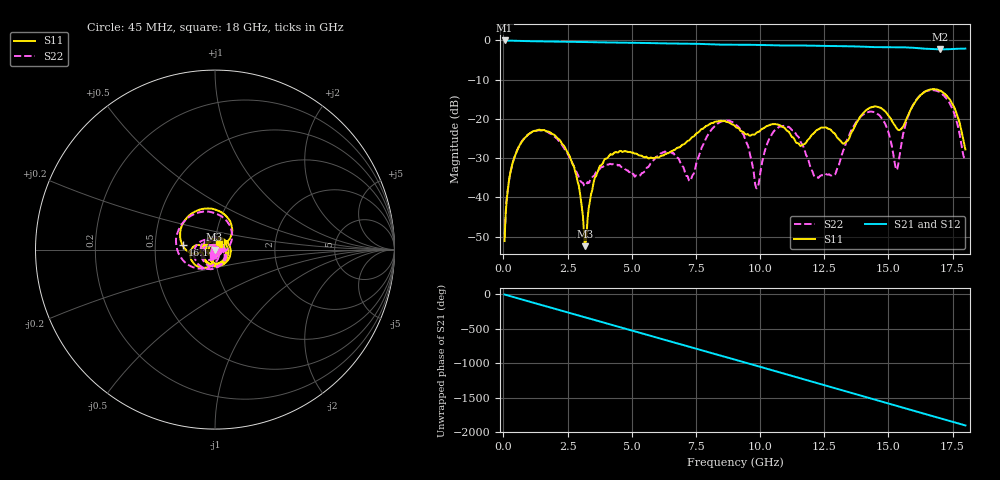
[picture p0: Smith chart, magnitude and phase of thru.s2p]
!Agilent Technologies,E8364A,US41440284,A.06.04.32
!Agilent E8364A: A.06.04.32
!Date: Friday, December 06, 2019 10:21:40
!Correction: S11(Full 2 Port(1,2)) S21(Full 2 Port(1,2)) S12(Full 2 Port(1,2)) S22(Full 2 Port(1,2))
!S2P File: Measurements: S11, S21, S12, S22:
# Hz S  MA  R 50
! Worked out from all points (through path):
!   801 points, 45 MHz to 18 GHz, reference 50 ohm
!   highest |S21| = -0.01 dB at 45 MHz (marker M1); lowest = -2.3 dB at 17.01 GHz (marker M2)
!   group delay of S21, straight-line fit = 294 ps
!   lowest |S11| = -52.4 dB at 3.187 GHz (marker M3), VSWR 1.00, Z = 49.8 - j0.0228 ohm
!   |S11| at or under -10 dB: start of sweep to end of sweep
!   |S22| runs from -49.5 to -12.6 dB; largest |S21 - S12| = 0.0016
!   S11 on the Smith chart (normalised r, x): 45 MHz: 1.00, -0.01; 16.14 GHz: 0.69, +0.03; 18 GHz: 1.05, +0.07
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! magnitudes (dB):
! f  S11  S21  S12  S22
! 45 MHz  -51.1  0.0  0.0  -49.5
! 426.5 MHz  -29.8  -0.1  -0.1  -29.8
! 1.279 GHz  -23.0  -0.2  -0.2  -23.0
! 2.424 GHz  -27.6  -0.3  -0.3  -28.1
! 3.052 GHz  -42.5  -0.4  -0.4  -36.2
! 3.187 GHz  -52.4  -0.4  -0.4  -36.9
! 3.546 GHz  -35.3  -0.5  -0.5  -34.4
! 3.995 GHz  -30.1  -0.5  -0.5  -31.7
! 6.037 GHz  -29.8  -0.7  -0.7  -29.3
! 7.294 GHz  -25.0  -0.8  -0.8  -35.7
! 8.125 GHz  -21.0  -1.0  -1.0  -22.6
! 9.023 GHz  -21.8  -1.1  -1.1  -21.2
! 9.875 GHz  -23.4  -1.1  -1.1  -37.7
! 10.84 GHz  -21.9  -1.3  -1.3  -21.9
! 12.03 GHz  -24.0  -1.3  -1.3  -33.3
! 12.88 GHz  -23.6  -1.4  -1.5  -34.2
! 14.12 GHz  -17.8  -1.6  -1.6  -18.5
! 15.01 GHz  -19.2  -1.8  -1.8  -23.7
! 15.33 GHz  -22.4  -1.7  -1.8  -33.0
! 16.14 GHz  -14.8  -2.0  -2.0  -14.7
! 17.01 GHz  -12.8  -2.3  -2.3  -13.2
! 18 GHz  -27.8  -2.1  -2.1  -29.7
